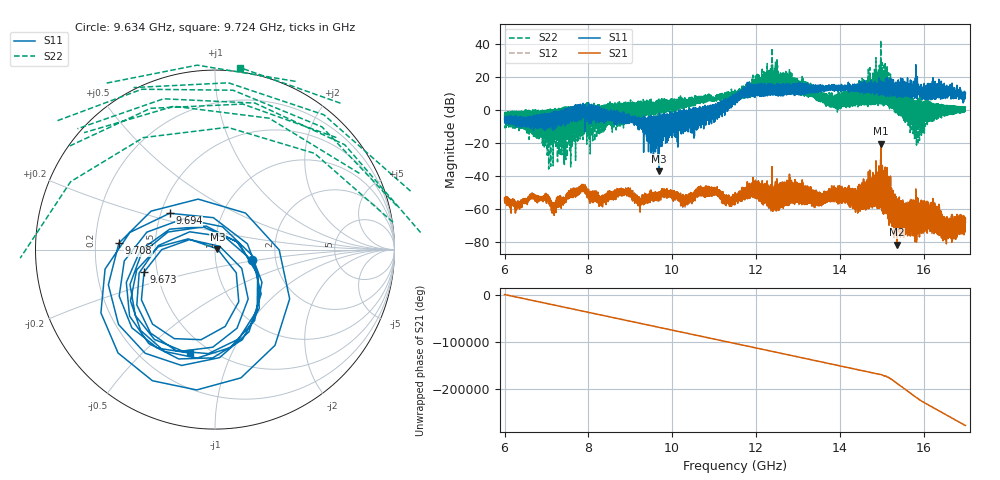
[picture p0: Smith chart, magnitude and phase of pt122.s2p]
#  HZ  S  RI  R  50.00
! Rohde & Schwarz Vector Network Analyzer
! Rohde-Schwarz,ZNA67-2Port,1332450062101215,3.01
! Created: UTC 10/19/2026, 4:57:33 PM
! freq[Hz]  re:S11  im:S11  re:S21  im:S21  re:S12  im:S12  re:S22  im:S22
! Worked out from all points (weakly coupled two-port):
!   11001 points, 6 GHz to 17 GHz, reference 50 ohm
!   highest |S21| = -20.36 dB at 14.98 GHz (marker M1); lowest = -81.5 dB at 15.37 GHz (marker M2)
!   lowest |S11| = -37.1 dB at 9.681 GHz (marker M3), VSWR 1.03, Z = 51.3 + j0.41 ohm
!   |S11| at or under -10 dB: 9.304814 GHz to 9.308637 GHz (3.823 MHz wide, 0.0411 % of centre); 9.386833 GHz to 9.391497 GHz (4.665 MHz wide, 0.0497 % of centre); 9.398715 GHz to 9.403158 GHz (4.443 MHz wide, 0.0473 % of centre) (the widest 3 of 142)
!   |S22| runs from -35.7 to 42.3 dB; largest |S21 - S12| = 0.0039
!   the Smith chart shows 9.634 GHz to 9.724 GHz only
!   S11 on the Smith chart (normalised r, x): 9.634 GHz: 1.51, -0.19; 9.673 GHz: 0.42, -0.13; 9.694 GHz: 0.56, +0.25; 9.708 GHz: 0.30, +0.03; 9.724 GHz: 0.40, -0.71
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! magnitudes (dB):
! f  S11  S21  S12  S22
! 6 GHz  -5.2  -53.3  -53.4  -2.4
! 7.171 GHz  -4.2  -58.0  -57.9  -7.3
! 7.834 GHz  -4.0  -48.4  -48.3  -12.1
! 8.307 GHz  0.8  -54.4  -54.4  2.1
! 9.634 GHz  -13.3  -51.8  -51.8  2.4
! 9.667 GHz  -6.8  -54.0  -54.5  -2.6
! 9.673 GHz  -7.6  -49.8  -50.1  3.6
! 9.681 GHz  -37.1  -52.5  -52.9  4.0
! 9.694 GHz  -9.8  -52.9  -53.4  4.7
! 9.708 GHz  -5.4  -49.7  -50.0  5.5
! 9.724 GHz  -4.5  -54.3  -54.6  0.2
! 11.5 GHz  4.3  -53.5  -53.4  8.7
! 11.9 GHz  9.3  -44.1  -44.1  18.9
! 12.49 GHz  12.2  -59.5  -59.7  10.7
! 13.33 GHz  11.7  -53.6  -53.9  9.7
! 13.89 GHz  12.8  -52.7  -52.3  5.5
! 14.98 GHz  10.1  -20.4  -20.7  42.3
! 15.17 GHz  10.8  -61.1  -61.1  3.1
! 15.37 GHz  10.7  -81.5  -82.5  -0.3
! 16.12 GHz  9.1  -72.0  -71.9  -7.3
! 16.51 GHz  11.8  -66.7  -66.5  2.6
! 17 GHz  10.0  -68.0  -68.0  1.4
